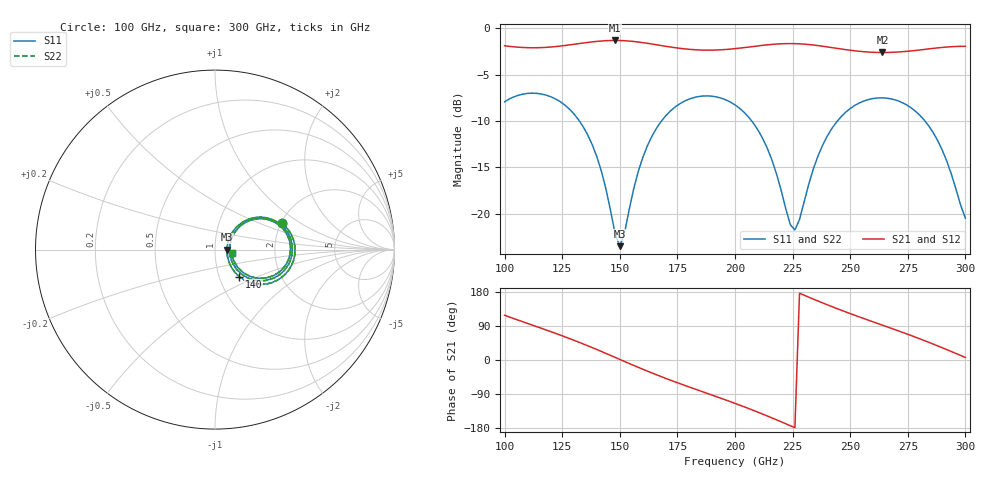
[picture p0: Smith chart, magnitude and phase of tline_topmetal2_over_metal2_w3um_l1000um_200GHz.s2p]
#  GHZ S DB R 50
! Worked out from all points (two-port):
!   101 points, 100 GHz to 300 GHz, reference 50 ohm
!   highest |S21| = -1.33 dB at 148 GHz (marker M1); lowest = -2.6 dB at 264 GHz (marker M2)
!   |S21| within 3 dB of the highest: start of sweep to end of sweep
!   lowest |S11| = -23.5 dB at 150 GHz (marker M3), VSWR 1.14, Z = 57.2 - j0.0926 ohm
!   |S11| at or under -10 dB: 132.4 GHz to 168.1 GHz (35.71 GHz wide, 23.8 % of centre); 207.2 GHz to 244.5 GHz (37.29 GHz wide, 16.5 % of centre); 282.4 GHz to end of sweep
!   |S22| runs from -23.6 to -7.0 dB; largest |S21 - S12| = 9.5e-14
!   S11 on the Smith chart (normalised r, x): 100 GHz: 2.02, +0.71; 140 GHz: 1.25, -0.39; 300 GHz: 1.20, -0.05
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100  -7.94 21.5  -1.90 118.0  -1.90 118.0  -7.94 21.4
110  -7.04 3.1  -2.11 96.4  -2.11 96.4  -7.04 3.0
118  -7.22 -11.6  -2.07 79.3  -2.07 79.3  -7.22 -11.7
134  -10.59 -40.3  -1.61 42.7  -1.61 42.7  -10.59 -40.5
140  -13.84 -48.0  -1.43 27.7  -1.43 27.7  -13.85 -48.3
148  -22.21 -26.9  -1.33 6.8  -1.33 6.8  -22.28 -27.3
150  -23.51 -0.7  -1.34 1.5  -1.34 1.5  -23.60 -0.8
160  -13.93 45.6  -1.56 -24.4  -1.56 -24.4  -13.94 45.7
168  -10.04 35.0  -1.88 -43.9  -1.88 -43.9  -10.04 35.0
184  -7.38 6.9  -2.35 -79.6  -2.35 -79.6  -7.39 6.9
200  -8.27 -21.2  -2.21 -114.4  -2.21 -114.4  -8.28 -21.4
212  -11.89 -39.8  -1.86 -142.7  -1.86 -142.7  -11.90 -40.1
218  -15.69 -42.3  -1.72 -157.9  -1.72 -157.9  -15.73 -42.8
224  -21.18 -17.1  -1.66 -173.4  -1.66 -173.4  -21.35 -17.6
226  -21.75 4.1  -1.67 -178.6  -1.67 -178.6  -21.95 4.1
234  -15.19 42.8  -1.82 160.8  -1.82 160.8  -15.23 43.3
246  -9.56 30.6  -2.25 131.6  -2.25 131.6  -9.58 30.9
264  -7.52 0.2  -2.63 91.9  -2.63 91.9  -7.52 0.4
268  -7.64 -6.7  -2.61 83.2  -2.61 83.2  -7.65 -6.5
278  -8.89 -23.5  -2.41 61.0  -2.41 61.0  -8.89 -23.3
286  -11.25 -35.2  -2.18 42.1  -2.18 42.1  -11.25 -34.9
300  -20.49 -12.4  -1.96 6.7  -1.96 6.7  -20.39 -11.9
